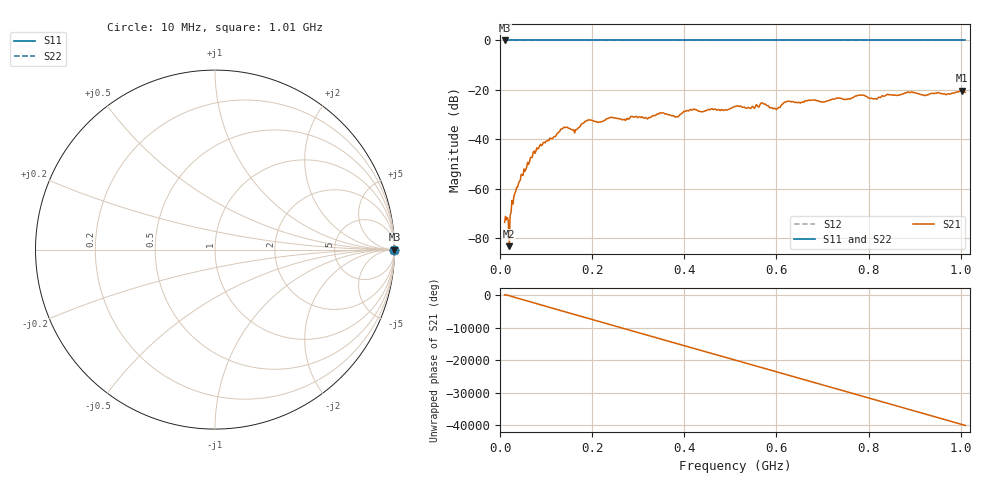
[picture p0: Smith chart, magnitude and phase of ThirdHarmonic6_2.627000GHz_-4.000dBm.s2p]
! 8/17/2025 5:50:54 AM
! C:\ANRITSUVNA\TEMP\TEMP.S2P
! CHANNEL.1
! TR.MEASUREMENT
! RAW.DATA
! RF.CORRECTION.OFF
! AVERAGING.OFF
! IF.BANDWIDTH: 5KHZ
! SWEEPTYPE:  FREQ.SWEEP(Linear)
! Reference Plane Port Info
! PORT:  PORT1  PORT2
! DISTANCE:  0  m  0  m
! TIME:  0  s  0  s
! PHASE.OFFSET:  0  deg.  0  deg.
! LOSS:  0  dB  0  dB
! REF.LOSS:  0  dB  0  dB
! REF.FREQ:  0  Hz  0  Hz
! Power Info
! POWER:  -20  dBm  -20  dBm
! EFF.POWER:  -20  dBm  -20  dBm
! SOURCE.ATTEN:  0  dB  0  dB
! TEST.ATTEN:  0  dB  0  dB
# GHZ S RI R 50.0
! FREQ.GHZ  S11RE  S11IM  S21RE  S21IM  S12RE  S12IM  S22RE  S22IM
!; PortSelection: Port_12
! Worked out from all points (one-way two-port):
!   501 points, 10 MHz to 1.01 GHz, reference 50 ohm
!   highest |S21| = -20.33 dB at 1.002 GHz (marker M1); lowest = -83.3 dB at 20 MHz (marker M2)
!   lowest |S11| = 0.0 dB at 10 MHz (marker M3)
!   |S11| at or under -10 dB: nowhere
!   |S22| runs from 0.0 to 0.0 dB; largest |S21 - S12| = 1.1
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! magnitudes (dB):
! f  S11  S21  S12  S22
! 10 MHz  0.0  -73.7  0.0  0.0
! 20 MHz  0.0  -83.3  0.0  0.0
! 30 MHz  0.0  -63.5  0.0  0.0
! 36 MHz  0.0  -59.5  0.0  0.0
! 76 MHz  0.0  -45.7  0.0  0.0
! 136 MHz  0.0  -35.7  0.0  0.0
! 162 MHz  0.0  -37.5  0.0  0.0
! 178 MHz  0.0  -33.7  0.0  0.0
! 194 MHz  0.0  -32.2  0.0  0.0
! 344 MHz  0.0  -29.8  0.0  0.0
! 384 MHz  0.0  -30.9  0.0  0.0
! 416 MHz  0.0  -28.2  0.0  0.0
! 510 MHz  0.0  -26.8  0.0  0.0
! 570 MHz  0.0  -25.4  0.0  0.0
! 598 MHz  0.0  -27.6  0.0  0.0
! 622 MHz  0.0  -24.8  0.0  0.0
! 678 MHz  0.0  -24.2  0.0  0.0
! 784 MHz  0.0  -22.2  0.0  0.0
! 814 MHz  0.0  -23.5  0.0  0.0
! 844 MHz  0.0  -22.0  0.0  0.0
! 1.002 GHz  0.0  -20.3  0.0  0.0
! 1.01 GHz  0.0  -21.0  0.0  0.0
